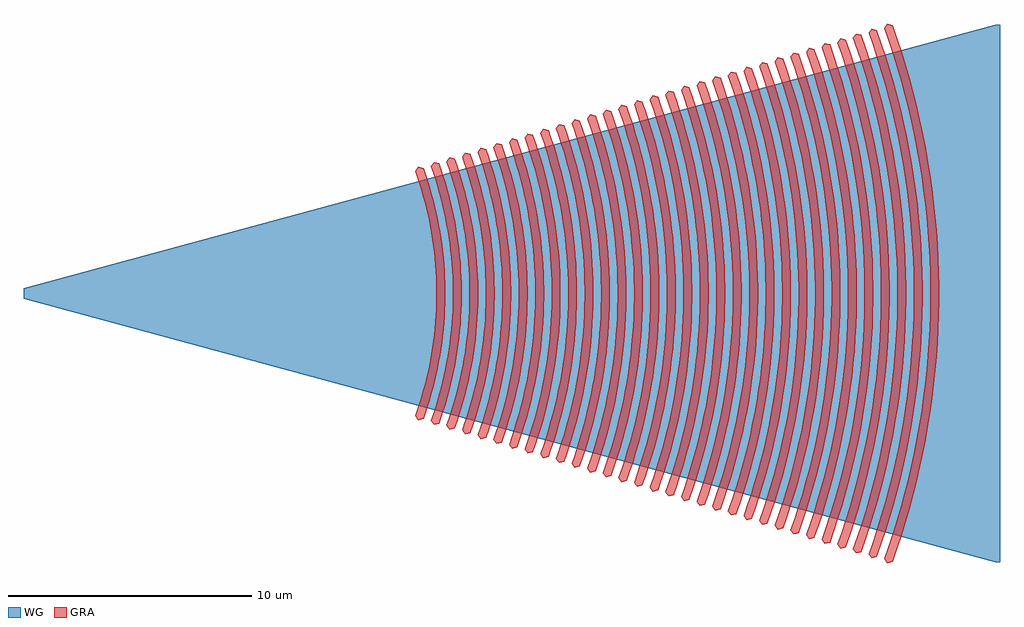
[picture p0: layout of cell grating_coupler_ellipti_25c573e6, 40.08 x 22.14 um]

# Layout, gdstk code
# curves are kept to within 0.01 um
import gdstk
lib = gdstk.Library(unit=1e-6, precision=1e-09)
def P(c, l, *ps):  # polygons
    for p in ps: c.add(gdstk.Polygon(p, *l))
WG = (3, 0)
GRA = (6, 0)

grating_coupler_ellipti_ = lib.new_cell('grating_coupler_ellipti_25c573e6')
P(grating_coupler_ellipti_, WG, [(40.337,-11.033),(0.457,-0.225),(0.457,0.225),(40.337,11.033),(40.537,11.033),(40.537,-11.033)])
P(grating_coupler_ellipti_, GRA, [(16.653,-5.2),(16.523,-5.026),(16.692,-4.527),(16.911,-3.769),(17.141,-2.744),(17.265,-1.965),(17.325,-1.442),(17.381,-0.657),(17.394,-0.132),(17.391,0.394),(17.367,0.919),(17.265,1.965),(17.141,2.744),(16.976,3.515),(16.769,4.275),(16.523,5.026),(16.653,5.2),(16.863,5.146),(17.036,4.637),(17.19,4.121),(17.387,3.337),(17.543,2.545),(17.656,1.746),(17.727,0.941),(17.755,0.134),(17.741,-0.673),(17.685,-1.478),(17.586,-2.279),(17.444,-3.074),(17.19,-4.121),(17.036,-4.637),(16.863,-5.146)],
  [(17.295,-5.395),(17.165,-5.222),(17.421,-4.442),(17.568,-3.917),(17.697,-3.386),(17.855,-2.581),(17.97,-1.77),(18.023,-1.227),(18.071,-0.137),(18.067,0.409),(18.042,0.955),(17.936,2.041),(17.807,2.85),(17.635,3.652),(17.421,4.442),(17.165,5.222),(17.295,5.395),(17.505,5.34),(17.767,4.546),(17.918,4.007),(18.049,3.464),(18.211,2.641),(18.328,1.812),(18.402,0.977),(18.432,0.139),(18.417,-0.698),(18.358,-1.534),(18.255,-2.366),(18.108,-3.19),(17.845,-4.277),(17.505,-5.34)],
  [(17.938,-5.591),(17.806,-5.418),(17.989,-4.879),(18.225,-4.062),(18.359,-3.512),(18.523,-2.678),(18.642,-1.836),(18.697,-1.273),(18.732,-0.708),(18.746,-0.141),(18.742,0.425),(18.717,0.991),(18.672,1.555),(18.607,2.118),(18.473,2.957),(18.295,3.787),(18.072,4.608),(17.806,5.418),(17.938,5.591),(18.148,5.536),(18.333,4.989),(18.499,4.434),(18.772,3.307),(18.925,2.452),(19.032,1.591),(19.092,0.724),(19.107,0.145),(19.092,-0.724),(19.032,-1.591),(18.925,-2.452),(18.772,-3.307),(18.499,-4.434),(18.333,-4.989),(18.148,-5.536)],
  [(18.579,-5.787),(18.449,-5.614),(18.724,-4.775),(18.955,-3.924),(19.14,-3.064),(19.236,-2.485),(19.315,-1.903),(19.371,-1.319),(19.408,-0.733),(19.423,-0.146),(19.418,0.44),(19.392,1.026),(19.345,1.612),(19.278,2.194),(19.14,3.064),(18.955,3.924),(18.724,4.775),(18.449,5.614),(18.579,5.787),(18.789,5.732),(18.981,5.165),(19.154,4.59),(19.305,4.01),(19.436,3.425),(19.594,2.539),(19.705,1.646),(19.768,0.749),(19.784,0.15),(19.768,-0.749),(19.705,-1.646),(19.594,-2.539),(19.436,-3.425),(19.305,-4.01),(19.154,-4.59),(18.981,-5.165),(18.789,-5.732)],
  [(19.221,-5.982),(19.091,-5.809),(19.376,-4.941),(19.614,-4.061),(19.806,-3.171),(19.907,-2.571),(19.987,-1.969),(20.045,-1.365),(20.083,-0.759),(20.098,-0.152),(20.094,0.455),(20.067,1.062),(19.987,1.969),(19.907,2.571),(19.806,3.171),(19.614,4.061),(19.376,4.941),(19.091,5.809),(19.221,5.982),(19.431,5.927),(19.63,5.341),(19.808,4.747),(19.964,4.147),(20.1,3.541),(20.263,2.625),(20.378,1.702),(20.427,1.084),(20.459,0.154),(20.443,-0.775),(20.378,-1.702),(20.263,-2.625),(20.1,-3.541),(19.964,-4.147),(19.808,-4.747),(19.63,-5.341),(19.431,-5.927)],
  [(19.863,-6.178),(19.733,-6.004),(20.027,-5.107),(20.274,-4.198),(20.472,-3.277),(20.576,-2.658),(20.659,-2.035),(20.719,-1.411),(20.759,-0.784),(20.774,-0.158),(20.77,0.471),(20.742,1.098),(20.659,2.035),(20.576,2.658),(20.472,3.277),(20.274,4.198),(20.027,5.107),(19.733,6.004),(19.863,6.178),(20.073,6.124),(20.279,5.518),(20.463,4.904),(20.624,4.284),(20.765,3.658),(20.932,2.712),(21.052,1.758),(21.119,0.8),(21.135,0.16),(21.119,-0.8),(21.052,-1.758),(20.932,-2.712),(20.765,-3.658),(20.624,-4.284),(20.463,-4.904),(20.279,-5.518),(20.073,-6.124)],
  [(20.505,-6.374),(20.375,-6.201),(20.679,-5.274),(20.934,-4.336),(21.138,-3.384),(21.246,-2.745),(21.331,-2.102),(21.394,-1.457),(21.434,-0.81),(21.45,-0.163),(21.446,0.486),(21.417,1.134),(21.331,2.102),(21.246,2.745),(21.138,3.384),(20.934,4.336),(20.679,5.274),(20.375,6.201),(20.505,6.374),(20.715,6.319),(20.927,5.694),(21.117,5.06),(21.284,4.42),(21.429,3.775),(21.602,2.799),(21.725,1.815),(21.777,1.156),(21.812,0.165),(21.794,-0.826),(21.725,-1.815),(21.602,-2.799),(21.429,-3.775),(21.284,-4.42),(21.117,-5.06),(20.927,-5.694),(20.715,-6.319)],
  [(21.147,-6.569),(21.017,-6.396),(21.331,-5.44),(21.593,-4.471),(21.804,-3.491),(21.915,-2.831),(22.003,-2.168),(22.068,-1.503),(22.109,-0.836),(22.126,-0.167),(22.121,0.501),(22.092,1.17),(22.003,2.168),(21.915,2.831),(21.804,3.491),(21.593,4.471),(21.331,5.44),(21.017,6.396),(21.147,6.569),(21.357,6.514),(21.576,5.87),(21.771,5.217),(21.943,4.557),(22.093,3.891),(22.271,2.885),(22.398,1.871),(22.452,1.192),(22.487,0.171),(22.469,-0.852),(22.398,-1.871),(22.271,-2.885),(22.093,-3.891),(21.943,-4.557),(21.771,-5.217),(21.576,-5.87),(21.357,-6.514)],
  [(21.789,-6.765),(21.659,-6.591),(21.982,-5.607),(22.253,-4.609),(22.47,-3.598),(22.585,-2.918),(22.676,-2.235),(22.742,-1.549),(22.785,-0.861),(22.802,-0.172),(22.797,0.517),(22.742,1.549),(22.676,2.235),(22.585,2.918),(22.47,3.598),(22.253,4.609),(21.982,5.607),(21.659,6.591),(21.789,6.765),(21.999,6.711),(22.224,6.046),(22.426,5.373),(22.603,4.693),(22.757,4.008),(22.941,2.972),(23.071,1.927),(23.145,0.877),(23.164,0.176),(23.145,-0.877),(23.071,-1.927),(22.941,-2.972),(22.757,-4.008),(22.603,-4.693),(22.426,-5.373),(22.224,-6.046),(21.999,-6.711)],
  [(22.433,-6.96),(22.301,-6.787),(22.634,-5.773),(22.913,-4.745),(23.136,-3.705),(23.254,-3.005),(23.348,-2.301),(23.416,-1.595),(23.46,-0.887),(23.478,-0.177),(23.473,0.532),(23.441,1.241),(23.348,2.301),(23.254,3.005),(23.136,3.705),(22.913,4.745),(22.634,5.773),(22.301,6.787),(22.433,6.96),(22.643,6.905),(22.873,6.222),(23.08,5.53),(23.263,4.831),(23.421,4.125),(23.61,3.059),(23.745,1.983),(23.82,0.903),(23.839,0.181),(23.82,-0.903),(23.745,-1.983),(23.61,-3.059),(23.421,-4.125),(23.263,-4.831),(23.08,-5.53),(22.873,-6.222),(22.643,-6.905)],
  [(23.074,-7.156),(22.944,-6.983),(23.285,-5.94),(23.572,-4.882),(23.802,-3.811),(23.924,-3.091),(24.02,-2.367),(24.09,-1.641),(24.136,-0.912),(24.154,-0.183),(24.149,0.547),(24.116,1.277),(24.02,2.367),(23.924,3.091),(23.802,3.811),(23.572,4.882),(23.285,5.94),(22.944,6.983),(23.074,7.156),(23.284,7.101),(23.406,6.752),(23.735,5.687),(23.922,4.968),(24.085,4.242),(24.28,3.145),(24.418,2.039),(24.496,0.928),(24.516,0.185),(24.496,-0.928),(24.418,-2.039),(24.28,-3.145),(24.085,-4.242),(23.922,-4.968),(23.735,-5.687),(23.406,-6.752),(23.284,-7.101)],
  [(23.717,-7.352),(23.585,-7.179),(23.937,-6.106),(24.232,-5.019),(24.468,-3.918),(24.593,-3.178),(24.692,-2.433),(24.764,-1.687),(24.811,-0.938),(24.83,-0.187),(24.824,0.563),(24.791,1.313),(24.692,2.433),(24.593,3.178),(24.468,3.918),(24.232,5.019),(23.937,6.106),(23.585,7.179),(23.717,7.352),(23.927,7.297),(24.051,6.938),(24.283,6.21),(24.489,5.475),(24.749,4.359),(24.949,3.232),(25.091,2.095),(25.151,1.335),(25.191,0.191),(25.171,-0.954),(25.091,-2.095),(24.949,-3.232),(24.749,-4.359),(24.489,-5.475),(24.283,-6.21),(24.051,-6.938),(23.927,-7.297)],
  [(24.359,-7.547),(24.227,-7.374),(24.589,-6.272),(24.891,-5.155),(25.134,-4.025),(25.263,-3.264),(25.364,-2.501),(25.439,-1.733),(25.487,-0.963),(25.507,-0.192),(25.487,0.963),(25.439,1.733),(25.364,2.501),(25.263,3.264),(25.134,4.025),(24.891,5.155),(24.589,6.272),(24.227,7.374),(24.359,7.547),(24.569,7.492),(24.696,7.124),(25.044,6),(25.241,5.241),(25.413,4.476),(25.619,3.318),(25.764,2.152),(25.847,0.979),(25.868,0.196),(25.847,-0.979),(25.764,-2.152),(25.619,-3.318),(25.413,-4.476),(25.241,-5.241),(25.044,-6),(24.696,-7.124),(24.569,-7.492)],
  [(25.001,-7.743),(24.87,-7.57),(25.24,-6.439),(25.551,-5.292),(25.724,-4.52),(25.932,-3.351),(26.037,-2.566),(26.113,-1.779),(26.162,-0.989),(26.182,-0.197),(26.176,0.593),(26.141,1.384),(26.037,2.566),(25.932,3.351),(25.724,4.52),(25.551,5.292),(25.24,6.439),(24.87,7.57),(25.001,7.743),(25.21,7.688),(25.342,7.31),(25.586,6.543),(25.804,5.768),(26.078,4.592),(26.288,3.405),(26.438,2.207),(26.522,1.005),(26.543,0.201),(26.522,-1.005),(26.438,-2.207),(26.288,-3.405),(26.078,-4.592),(25.804,-5.768),(25.586,-6.543),(25.342,-7.31),(25.21,-7.688)],
  [(25.643,-7.938),(25.511,-7.765),(25.892,-6.605),(26.211,-5.429),(26.388,-4.637),(26.602,-3.438),(26.709,-2.632),(26.787,-1.825),(26.837,-1.014),(26.859,-0.203),(26.852,0.609),(26.816,1.42),(26.709,2.632),(26.602,3.438),(26.388,4.637),(26.211,5.429),(25.892,6.605),(25.511,7.765),(25.643,7.938),(25.853,7.883),(25.987,7.496),(26.238,6.709),(26.461,5.915),(26.742,4.709),(26.958,3.492),(27.111,2.264),(27.176,1.442),(27.22,0.207),(27.197,-1.03),(27.111,-2.264),(26.958,-3.492),(26.742,-4.709),(26.461,-5.915),(26.238,-6.709),(25.987,-7.496),(25.853,-7.883)],
  [(26.284,-8.134),(26.154,-7.961),(26.543,-6.772),(26.87,-5.566),(27.133,-4.345),(27.271,-3.524),(27.381,-2.699),(27.461,-1.871),(27.513,-1.04),(27.534,-0.208),(27.528,0.624),(27.491,1.456),(27.381,2.699),(27.271,3.524),(27.133,4.345),(26.87,5.566),(26.543,6.772),(26.154,7.961),(26.284,8.134),(26.494,8.079),(26.633,7.682),(26.889,6.876),(27.118,6.062),(27.406,4.826),(27.627,3.578),(27.784,2.32),(27.851,1.478),(27.895,0.212),(27.873,-1.056),(27.784,-2.32),(27.687,-3.16),(27.487,-4.411),(27.317,-5.24),(27.118,-6.062),(26.765,-7.28),(26.494,-8.079)],
  [(26.927,-8.33),(26.795,-8.157),(27.195,-6.938),(27.53,-5.703),(27.799,-4.452),(27.941,-3.611),(28.053,-2.765),(28.135,-1.917),(28.188,-1.066),(28.21,-0.213),(28.203,0.639),(28.166,1.492),(28.098,2.342),(27.941,3.611),(27.799,4.452),(27.53,5.703),(27.195,6.938),(26.795,8.157),(26.927,8.33),(27.137,8.275),(27.278,7.868),(27.662,6.626),(27.88,5.789),(28.07,4.943),(28.297,3.665),(28.458,2.376),(28.526,1.514),(28.571,0.217),(28.548,-1.082),(28.458,-2.376),(28.358,-3.237),(28.153,-4.518),(27.979,-5.366),(27.775,-6.208),(27.413,-7.456),(27.137,-8.275)],
  [(27.568,-8.525),(27.438,-8.352),(27.847,-7.105),(28.19,-5.839),(28.465,-4.559),(28.61,-3.698),(28.725,-2.831),(28.81,-1.963),(28.864,-1.091),(28.886,-0.218),(28.879,0.655),(28.841,1.527),(28.725,2.831),(28.61,3.698),(28.465,4.559),(28.19,5.839),(27.847,7.105),(27.438,8.352),(27.568,8.525),(27.778,8.47),(27.924,8.053),(28.193,7.209),(28.432,6.355),(28.734,5.06),(28.966,3.752),(29.131,2.433),(29.201,1.549),(29.247,0.222),(29.224,-1.107),(29.131,-2.433),(29.029,-3.313),(28.819,-4.625),(28.641,-5.493),(28.432,-6.355),(28.062,-7.632),(27.778,-8.47)],
  [(28.211,-8.721),(28.079,-8.548),(28.498,-7.271),(28.849,-5.976),(29.131,-4.666),(29.28,-3.784),(29.398,-2.898),(29.484,-2.009),(29.539,-1.117),(29.562,-0.223),(29.555,0.67),(29.484,2.009),(29.398,2.898),(29.28,3.784),(29.131,4.666),(28.849,5.976),(28.498,7.271),(28.079,8.548),(28.211,8.721),(28.421,8.666),(28.569,8.239),(28.971,6.939),(29.199,6.062),(29.398,5.177),(29.636,3.838),(29.804,2.488),(29.899,1.133),(29.923,0.227),(29.915,-0.68),(29.844,-2.037),(29.7,-3.389),(29.485,-4.732),(29.303,-5.621),(29.089,-6.502),(28.71,-7.808),(28.421,-8.666)],
  [(28.853,-8.916),(28.721,-8.743),(29.15,-7.437),(29.509,-6.113),(29.797,-4.773),(29.949,-3.871),(30.07,-2.964),(30.158,-2.055),(30.215,-1.142),(30.238,-0.228),(30.215,1.142),(30.158,2.055),(30.07,2.964),(29.949,3.871),(29.797,4.773),(29.509,6.113),(29.15,7.437),(28.721,8.743),(28.853,8.916),(29.063,8.861),(29.214,8.425),(29.625,7.096),(29.859,6.199),(30.062,5.293),(30.233,4.382),(30.428,3.006),(30.55,1.621),(30.6,0.232),(30.575,-1.158),(30.518,-2.083),(30.371,-3.466),(30.151,-4.839),(29.965,-5.747),(29.746,-6.649),(29.359,-7.985),(29.063,-8.861)],
  [(29.494,-9.112),(29.364,-8.939),(29.802,-7.604),(30.169,-6.251),(30.463,-4.879),(30.619,-3.957),(30.742,-3.031),(30.832,-2.101),(30.89,-1.168),(30.914,-0.233),(30.907,0.701),(30.865,1.635),(30.742,3.031),(30.619,3.957),(30.463,4.879),(30.169,6.251),(29.802,7.604),(29.364,8.939),(29.494,9.112),(29.704,9.057),(29.86,8.611),(30.148,7.708),(30.404,6.795),(30.726,5.41),(30.975,4.011),(31.151,2.601),(31.25,1.184),(31.275,0.237),(31.25,-1.184),(31.151,-2.601),(31.042,-3.542),(30.817,-4.945),(30.626,-5.873),(30.404,-6.795),(30.008,-8.161),(29.704,-9.057)],
  [(30.137,-9.308),(30.005,-9.135),(30.453,-7.77),(30.828,-6.388),(31.129,-4.986),(31.288,-4.044),(31.414,-3.097),(31.506,-2.147),(31.566,-1.193),(31.59,-0.238),(31.582,0.716),(31.54,1.67),(31.414,3.097),(31.288,4.044),(31.129,4.986),(30.828,6.388),(30.453,7.77),(30.005,9.135),(30.137,9.308),(30.347,9.253),(30.505,8.797),(30.799,7.874),(31.061,6.942),(31.39,5.527),(31.644,4.098),(31.824,2.657),(31.926,1.209),(31.952,0.242),(31.926,-1.209),(31.824,-2.657),(31.713,-3.619),(31.483,-5.052),(31.288,-6),(31.061,-6.942),(30.656,-8.337),(30.347,-9.253)],
  [(30.778,-9.503),(30.648,-9.33),(31.105,-7.937),(31.488,-6.524),(31.701,-5.572),(31.958,-4.131),(32.086,-3.163),(32.18,-2.193),(32.241,-1.219),(32.266,-0.243),(32.258,0.731),(32.215,1.706),(32.086,3.163),(31.958,4.131),(31.701,5.572),(31.488,6.524),(31.105,7.937),(30.648,9.33),(30.778,9.503),(30.988,9.448),(31.151,8.983),(31.589,7.566),(31.838,6.608),(32.055,5.644),(32.314,4.185),(32.497,2.713),(32.575,1.728),(32.628,0.247),(32.601,-1.235),(32.497,-2.713),(32.384,-3.695),(32.149,-5.159),(31.95,-6.128),(31.718,-7.089),(31.305,-8.513),(30.988,-9.448)],
  [(31.42,-9.699),(31.29,-9.526),(31.756,-8.103),(32.025,-7.143),(32.365,-5.689),(32.548,-4.709),(32.759,-3.23),(32.855,-2.239),(32.916,-1.244),(32.942,-0.249),(32.934,0.747),(32.855,2.239),(32.759,3.23),(32.627,4.217),(32.461,5.2),(32.148,6.66),(31.756,8.103),(31.29,9.526),(31.42,9.699),(31.63,9.644),(31.796,9.169),(32.102,8.207),(32.375,7.235),(32.719,5.761),(32.904,4.769),(33.117,3.272),(33.25,1.764),(33.304,0.253),(33.294,-0.757),(33.215,-2.267),(33.055,-3.772),(32.815,-5.266),(32.612,-6.254),(32.375,-7.235),(31.953,-8.689),(31.63,-9.644)],
  [(32.063,-9.895),(31.931,-9.722),(32.408,-8.27),(32.807,-6.797),(33.127,-5.307),(33.297,-4.304),(33.431,-3.296),(33.529,-2.285),(33.592,-1.27),(33.618,-0.254),(33.61,0.762),(33.565,1.778),(33.431,3.296),(33.297,4.304),(33.127,5.307),(32.807,6.797),(32.408,8.27),(31.931,9.722),(32.063,9.895),(32.273,9.84),(32.602,8.866),(33.032,7.382),(33.383,5.877),(33.653,4.358),(33.844,2.825),(33.925,1.8),(33.98,0.258),(33.952,-1.286),(33.844,-2.825),(33.726,-3.848),(33.481,-5.373),(33.274,-6.381),(33.032,-7.382),(32.602,-8.866),(32.273,-9.84)],
  [(32.704,-10.09),(32.574,-9.917),(32.907,-8.932),(33.339,-7.437),(33.584,-6.43),(33.884,-4.903),(34.103,-3.362),(34.203,-2.331),(34.267,-1.296),(34.294,-0.259),(34.286,0.777),(34.24,1.813),(34.103,3.362),(33.966,4.39),(33.793,5.413),(33.467,6.934),(33.06,8.436),(32.574,9.917),(32.704,10.09),(32.914,10.035),(33.251,9.042),(33.689,7.529),(34.047,5.994),(34.322,4.444),(34.397,3.925),(34.517,2.881),(34.6,1.835),(34.656,0.263),(34.627,-1.312),(34.517,-2.881),(34.397,-3.925),(34.147,-5.479),(34.047,-5.994),(33.817,-7.02),(33.552,-8.036),(33.251,-9.042),(32.914,-10.035)],
  [(33.346,-10.286),(33.216,-10.113),(33.711,-8.603),(33.996,-7.584),(34.246,-6.556),(34.46,-5.52),(34.552,-4.999),(34.775,-3.429),(34.877,-2.377),(34.943,-1.321),(34.97,-0.264),(34.961,0.793),(34.915,1.849),(34.775,3.429),(34.636,4.477),(34.46,5.52),(34.126,7.071),(33.711,8.603),(33.216,10.113),(33.346,10.286),(33.556,10.231),(33.899,9.218),(34.346,7.676),(34.711,6.111),(34.992,4.531),(35.068,4.001),(35.19,2.938),(35.275,1.871),(35.332,0.268),(35.303,-1.337),(35.19,-2.938),(35.068,-4.001),(34.814,-5.586),(34.598,-6.634),(34.346,-7.676),(33.899,-9.218),(33.556,-10.231)],
  [(33.988,-10.481),(33.858,-10.307),(34.204,-9.284),(34.654,-7.73),(34.908,-6.683),(35.126,-5.627),(35.22,-5.096),(35.381,-4.03),(35.504,-2.96),(35.618,-1.347),(35.646,-0.269),(35.637,0.808),(35.589,1.885),(35.504,2.96),(35.305,4.564),(35.126,5.627),(34.786,7.208),(34.363,8.769),(34.036,9.797),(33.858,10.307),(33.988,10.481),(34.198,10.427),(34.548,9.394),(35.004,7.822),(35.375,6.228),(35.576,5.156),(35.661,4.618),(35.739,4.078),(35.864,2.994),(35.978,1.363),(36.008,0.273),(36.008,-0.273),(35.978,-1.363),(35.864,-2.994),(35.739,-4.078),(35.48,-5.693),(35.26,-6.761),(35.004,-7.822),(34.548,-9.394),(34.198,-10.427)],
  [(34.63,-10.677),(34.5,-10.504),(35.015,-8.935),(35.311,-7.877),(35.57,-6.81),(35.792,-5.734),(35.888,-5.193),(36.052,-4.106),(36.177,-3.016),(36.294,-1.372),(36.322,-0.274),(36.313,0.823),(36.264,1.921),(36.12,3.561),(35.975,4.65),(35.792,5.734),(35.446,7.345),(35.015,8.935),(34.5,10.504),(34.63,10.677),(34.84,10.622),(35.196,9.571),(35.361,9.039),(35.661,7.969),(36.039,6.345),(36.244,5.253),(36.331,4.704),(36.41,4.154),(36.537,3.05),(36.654,1.388),(36.684,0.278),(36.684,-0.278),(36.654,-1.388),(36.537,-3.05),(36.41,-4.154),(36.244,-5.253),(36.146,-5.8),(35.922,-6.888),(35.661,-7.969),(35.361,-9.039),(35.196,-9.571),(34.84,-10.622)],
  [(35.272,-10.873),(35.142,-10.7),(35.501,-9.637),(35.968,-8.024),(36.232,-6.937),(36.458,-5.84),(36.555,-5.289),(36.644,-4.737),(36.792,-3.628),(36.9,-2.515),(36.969,-1.398),(36.998,-0.279),(36.989,0.839),(36.9,2.515),(36.792,3.628),(36.644,4.737),(36.458,5.84),(36.105,7.482),(35.666,9.102),(35.142,10.7),(35.272,10.873),(35.482,10.818),(35.845,9.747),(36.318,8.116),(36.703,6.462),(36.812,5.906),(37,4.791),(37.15,3.67),(37.21,3.106),(37.299,1.979),(37.36,0.283),(37.349,-0.849),(37.26,-2.543),(37.15,-3.67),(37.08,-4.231),(36.812,-5.906),(36.584,-7.015),(36.318,-8.116),(35.845,-9.747),(35.482,-10.818)],
  [(35.914,-11.068),(35.784,-10.894),(36.15,-9.813),(36.318,-9.268),(36.625,-8.17),(36.894,-7.064),(37.124,-5.947),(37.223,-5.386),(37.314,-4.824),(37.464,-3.694),(37.574,-2.561),(37.644,-1.423),(37.674,-0.284),(37.665,0.854),(37.574,2.561),(37.464,3.694),(37.314,4.824),(37.124,5.947),(36.765,7.618),(36.318,9.268),(36.15,9.813),(35.784,10.894),(35.914,11.068),(36.124,11.014),(36.494,9.923),(36.664,9.372),(36.975,8.262),(37.246,7.142),(37.367,6.578),(37.478,6.013),(37.67,4.878),(37.822,3.736),(37.934,2.589),(37.974,2.014),(38.036,0.288),(38.025,-0.864),(37.934,-2.589),(37.822,-3.736),(37.751,-4.307),(37.67,-4.878),(37.478,-6.013),(37.246,-7.142),(36.975,-8.262),(36.664,-9.372),(36.494,-9.923),(36.124,-11.014)])

lib.write_gds('grating_coupler_ellipti_25c573e6.gds')
